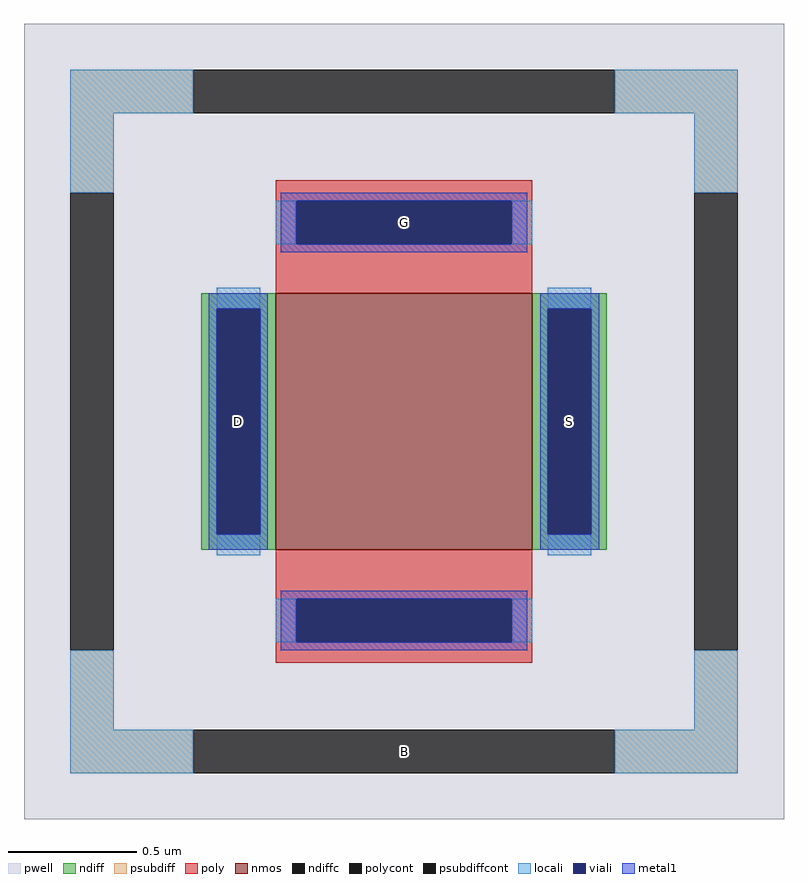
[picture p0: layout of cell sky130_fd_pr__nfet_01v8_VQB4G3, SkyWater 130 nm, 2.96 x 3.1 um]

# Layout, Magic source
magic
tech sky130A
magscale 1 2
<< pwell >>
rect -296 -310 296 310
<< nmos >>
rect -100 -100 100 100
<< ndiff >>
rect -158 88 -100 100
rect -158 -88 -146 88
rect -112 -88 -100 88
rect -158 -100 -100 -88
rect 100 88 158 100
rect 100 -88 112 88
rect 146 -88 158 88
rect 100 -100 158 -88
<< ndiffc >>
rect -146 -88 -112 88
rect 112 -88 146 88
<< psubdiff >>
rect -260 240 -164 274
rect 164 240 260 274
rect -260 178 -226 240
rect 226 178 260 240
rect -260 -240 -226 -178
rect 226 -240 260 -178
rect -260 -274 -164 -240
rect 164 -274 260 -240
<< psubdiffcont >>
rect -164 240 164 274
rect -260 -178 -226 178
rect 226 -178 260 178
rect -164 -274 164 -240
<< poly >>
rect -100 172 100 188
rect -100 138 -84 172
rect 84 138 100 172
rect -100 100 100 138
rect -100 -138 100 -100
rect -100 -172 -84 -138
rect 84 -172 100 -138
rect -100 -188 100 -172
<< polycont >>
rect -84 138 84 172
rect -84 -172 84 -138
<< locali >>
rect -260 240 -164 274
rect 164 240 260 274
rect -260 178 -226 240
rect 226 178 260 240
rect -100 138 -84 172
rect 84 138 100 172
rect -146 88 -112 104
rect -146 -104 -112 -88
rect 112 88 146 104
rect 112 -104 146 -88
rect -100 -172 -84 -138
rect 84 -172 100 -138
rect -260 -240 -226 -178
rect 226 -240 260 -178
rect -260 -274 -164 -240
rect 164 -274 260 -240
<< viali >>
rect -84 138 84 172
rect -146 -88 -112 88
rect 112 -88 146 88
rect -84 -172 84 -138
<< metal1 >>
rect -96 172 96 178
rect -96 138 -84 172
rect 84 138 96 172
rect -96 132 96 138
rect -152 88 -106 100
rect -152 -88 -146 88
rect -112 -88 -106 88
rect -152 -100 -106 -88
rect 106 88 152 100
rect 106 -88 112 88
rect 146 -88 152 88
rect 106 -100 152 -88
rect -96 -138 96 -132
rect -96 -172 -84 -138
rect 84 -172 96 -138
rect -96 -178 96 -172
<< labels >>
rlabel psubdiffcont 0 -257 0 -257 0 B
port 21 nsew
rlabel ndiffc -129 0 -129 0 0 D
port 22 nsew
rlabel ndiffc 129 0 129 0 0 S
port 23 nsew
rlabel polycont 0 155 0 155 0 G
port 24 nsew
<< properties >>
string FIXED_BBOX -243 -257 243 257
string gencell sky130_fd_pr__nfet_01v8
string library sky130
string parameters w 1.0 l 1.0 m 1 nf 1 diffcov 100 polycov 100 guard 1 glc 1 grc 1 gtc 1 gbc 1 tbcov 100 rlcov 100 topc 1 botc 1 poverlap 0 doverlap 1 lmin 0.15 wmin 0.42 class mosfet compatible {sky130_fd_pr__nfet_01v8 sky130_fd_pr__nfet_01v8_lvt  sky130_fd_bs_flash__special_sonosfet_star  sky130_fd_pr__nfet_g5v0d10v5 sky130_fd_pr__nfet_05v0_nvt  sky130_fd_pr__nfet_03v3_nvt} full_metal 1 conn_gates 0 viasrc 100 viadrn 100 viagate 100 viagb 0 viagr 0 viagl 0 viagt 0 doports 1 ad {int((nf+1)/2) * W/nf * 0.29} as {int((nf+2)/2) * W/nf * 0.29} pd {2*int((nf+1)/2) * (W/nf + 0.29)} ps {2*int((nf+2)/2) * (W/nf + 0.29)} nrd {0.29 / W} nrs {0.29 / W} sa 0 sb 0 sd 0 mult 1
<< end >>
